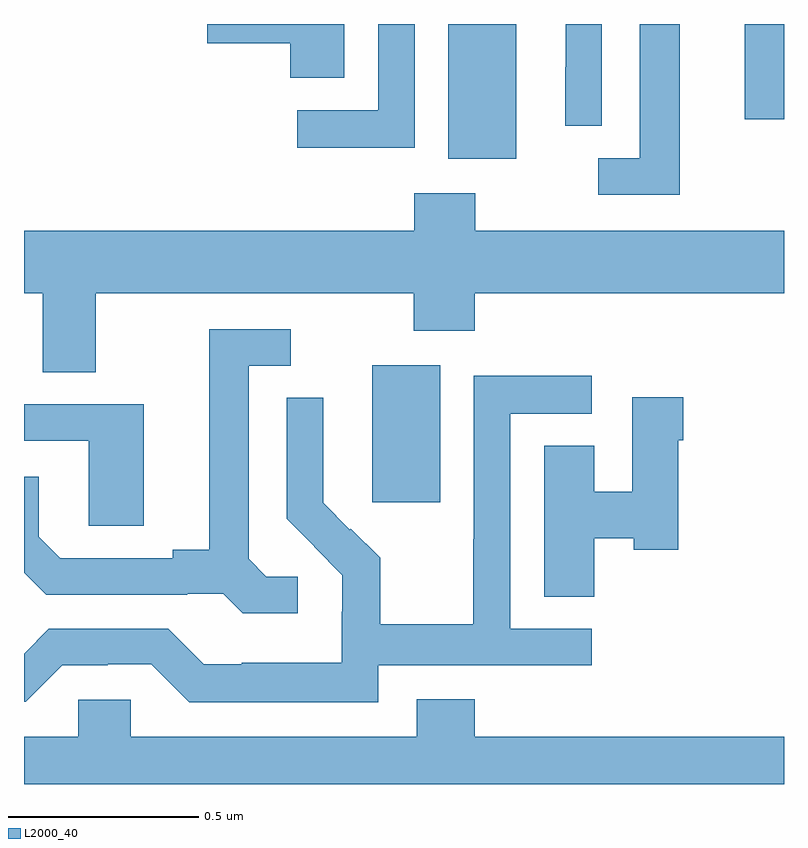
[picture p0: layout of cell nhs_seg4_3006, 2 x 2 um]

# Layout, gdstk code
import gdstk
lib = gdstk.Library(unit=1e-6, precision=1e-09)
def R(c, l, rs):  # rectangles x0, y0, x1, y1
    for r in rs: c.add(gdstk.rectangle(r[:2], r[2:], *l))
def P(c, l, *ps):  # polygons
    for p in ps: c.add(gdstk.Polygon(p, *l))
L2000_40 = (2000, 40)

nhs_seg4_3006 = lib.new_cell('nhs_seg4_3006')
R(nhs_seg4_3006, L2000_40, [(148.916,757.641,149.095,758.002), (149.117,758.546,149.296,758.9), (149.897,758.649,150,758.9)])
P(nhs_seg4_3006, L2000_40, [(149.725,758.9),(149.621,758.9),(149.621,758.547),(149.511,758.547),(149.511,758.451),(149.725,758.451)],
  [(149.028,758.9),(148.932,758.9),(148.932,758.673),(148.719,758.673),(148.719,758.575),(149.028,758.575)],
  [(149.52,758.9),(149.426,758.9),(149.426,758.786),(149.424,758.786),(149.424,758.632),(149.52,758.632)],
  [(148.843,758.9),(148.482,758.9),(148.482,758.849),(148.7,758.849),(148.7,758.758),(148.843,758.758)],
  [(148.189,758.192),(149.026,758.192),(149.026,758.093),(149.186,758.093),(149.186,758.192),(150,758.192),(150,758.356),(149.187,758.356),(149.187,758.455),(149.027,758.455),(149.027,758.356),(148,758.356),(148,758.192),(148.049,758.192),(148.049,757.984),(148.189,757.984)],
  [(148.72,757.446),(148.638,757.446),(148.591,757.493),(148.591,758.001),(148.702,758.001),(148.702,758.097),(148.487,758.097),(148.487,757.517),(148.391,757.517),(148.391,757.494),(148.096,757.494),(148.039,757.551),(148.039,757.708),(148,757.708),(148,757.456),(148.058,757.398),(148.43,757.398),(148.43,757.401),(148.524,757.401),(148.576,757.349),(148.72,757.349)],
  [(148.932,757.212),(149.494,757.212),(149.494,757.308),(149.28,757.308),(149.28,757.875),(149.494,757.875),(149.494,757.974),(149.184,757.974),(149.184,757.544),(149.182,757.544),(149.182,757.321),(148.937,757.321),(148.937,757.495),(148.86,757.572),(148.857,757.569),(148.787,757.64),(148.787,757.762),(148.788,757.762),(148.788,757.916),(148.692,757.916),(148.692,757.598),(148.765,757.525),(148.764,757.524),(148.838,757.45),(148.838,757.353),(148.836,757.353),(148.836,757.219),(148.573,757.219),(148.573,757.215),(148.473,757.215),(148.38,757.308),(148.065,757.308),(148,757.243),(148,757.116),(148.005,757.116),(148.101,757.212),(148.22,757.212),(148.22,757.215),(148.335,757.215),(148.435,757.115),(148.932,757.115)],
  [(149.5,757.547),(149.604,757.547),(149.604,757.517),(149.722,757.517),(149.722,757.805),(149.735,757.805),(149.735,757.918),(149.6,757.918),(149.6,757.669),(149.5,757.669),(149.5,757.79),(149.369,757.79),(149.369,757.393),(149.5,757.393)],
  [(148.315,757.899),(148,757.899),(148,757.803),(148.17,757.803),(148.17,757.579),(148.315,757.579)],
  [(150,757.024),(149.186,757.024),(149.186,757.123),(149.033,757.123),(149.033,757.024),(148.281,757.024),(148.281,757.122),(148.143,757.122),(148.143,757.024),(148,757.024),(148,756.9),(150,756.9)])

lib.write_gds('nhs_seg4_3006.gds')
